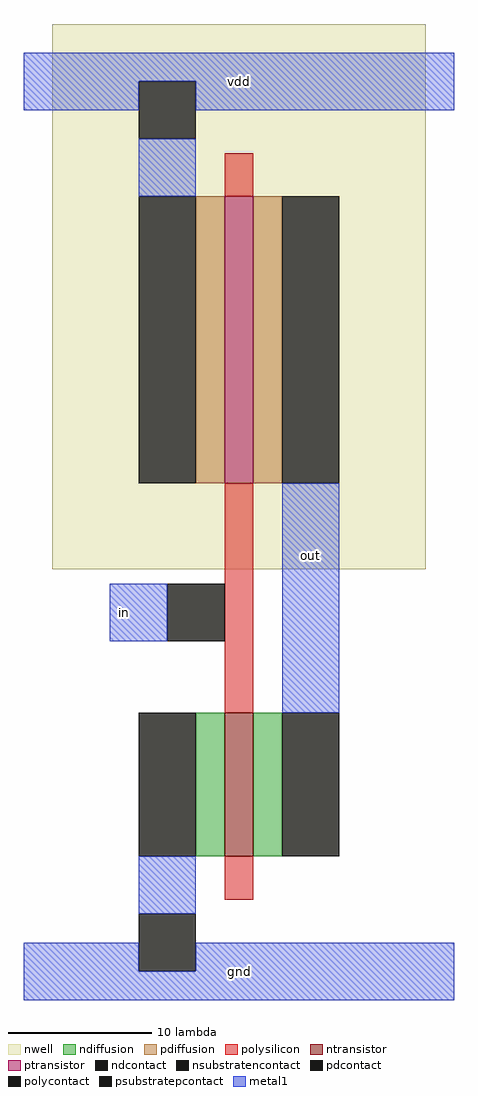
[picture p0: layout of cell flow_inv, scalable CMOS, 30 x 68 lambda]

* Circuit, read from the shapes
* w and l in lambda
.subckt flow_inv in out vdd gnd
M1 out in gnd gnd nfet w=10 l=2
M2 out in vdd vdd pfet w=20 l=2
.ends

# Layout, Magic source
magic
tech scmos
<< nwell >>
rect -12 20 14 58
<< ntransistor >>
rect 0 0 2 10
<< ptransistor >>
rect 0 26 2 46
<< ndiffusion >>
rect -2 0 0 10
rect 2 0 4 10
<< pdiffusion >>
rect -2 26 0 46
rect 2 26 4 46
<< ndcontact >>
rect -6 0 -2 10
rect 4 0 8 10
<< pdcontact >>
rect -6 26 -2 46
rect 4 26 8 46
<< psubstratepcontact >>
rect -6 -8 -2 -4
<< nsubstratencontact >>
rect -6 50 -2 54
<< polysilicon >>
rect 0 46 2 49
rect 0 10 2 26
rect 0 -3 2 0
<< polycontact >>
rect -4 15 0 19
<< metal1 >>
rect -14 54 16 56
rect -14 52 -6 54
rect -2 52 16 54
rect -6 46 -2 50
rect -8 15 -4 19
rect 4 10 8 26
rect -6 -4 -2 0
rect -14 -8 -6 -6
rect -2 -8 16 -6
rect -14 -10 16 -8
<< labels >>
rlabel metal1 -8 15 -6 19 0 in
port 1 nsew
rlabel metal1 4 20 8 22 0 out
port 2 nsew
rlabel metal1 -14 52 16 56 0 vdd
port 3 nsew
rlabel metal1 -14 -10 16 -6 0 gnd
port 4 nsew
<< end >>
